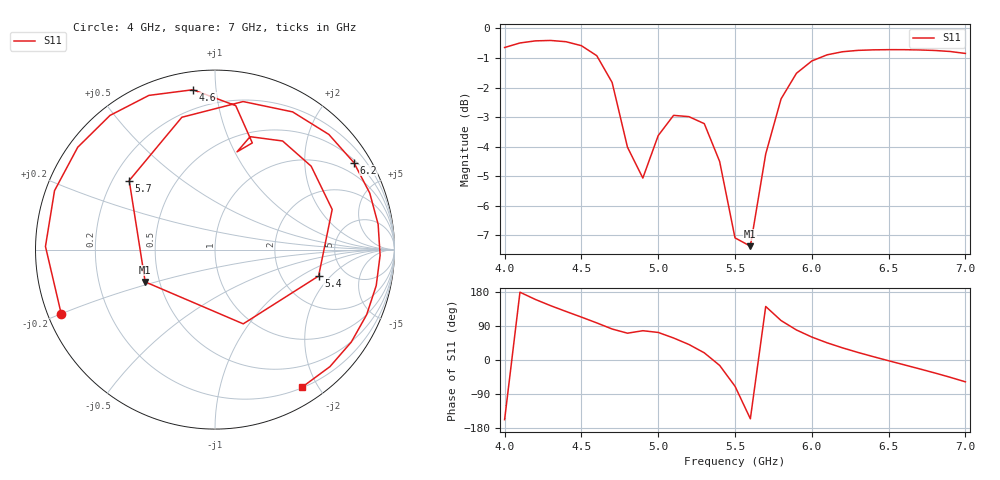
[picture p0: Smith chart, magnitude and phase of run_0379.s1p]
! Touchstone file exported from HFSS 2024.2.0
!  File:  C:/Users/wsak9/Desktop/Sim Fast/Widenad Patch/WP_AI_V1_sweep.aedt
!  Generated:  07:12:11 AM Oct 14, 2026
!  Design:  A1_model
!  Project:  WP_AI_V1_sweep
!  Setup:  Setup1
!  Solution:  Sweep
! Variables:
!  Air_gap = 3.57mm
!  Curve_Amp1 = 3.69
!  Curve_len1 = 1
!  Curve_pos = 11.34mm
!  Extra = 6.59mm
!  H_sub = 0.79mm
!  L_Patch = 18.68mm
!  L_Patch1 = 14.72mm
!  Sx = 0.71mm
!  Sy = 3.92mm
!  WS = 0.37mm
!  W_Patch = 18.12mm
!  W_Patch1 = 8.13mm
!Data is not renormalized
# GHz S MA
! Terminal data exported
! Port[1] = 1
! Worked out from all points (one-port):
!   31 points, 4 GHz to 7 GHz, reference per port
!   lowest |S11| = -7.4 dB at 5.6 GHz (marker M1), VSWR 2.50
!   |S11| at or under -10 dB: nowhere
!   S11 on the Smith chart (normalised r, x): 4 GHz: 0.04, -0.20; 4.6 GHz: 0.09, +0.87; 5.4 GHz: 3.22, -1.47; 5.7 GHz: 0.27, +0.33; 6.2 GHz: 0.58, +3.39; 7 GHz: 0.21, -1.80
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4  0.9282 -157.4
4.1  0.9447 178.9
4.2  0.9524 159.8
4.3  0.954 143.3
4.4  0.9493 128.1
4.5  0.9348 113.2
4.6  0.8991 97.9
4.7  0.8102 81.8
4.8  0.6297 70.7
4.9  0.5585 77.3
5  0.6589 72.7
5.1  0.7128 58.1
5.2  0.7092 40.9
5.3  0.6902 18.9
5.4  0.5957 -14.3
5.5  0.4426 -69.2
5.6  0.4285 -155.2
5.7  0.6135 141.2
5.8  0.7601 104.1
5.9  0.8396 79.2
6  0.8808 60.6
6.1  0.9022 45.3
6.2  0.913 32.0
6.3  0.9179 20.0
6.5  0.9204 -2.0
6.7  0.9195 -23.2
6.9  0.9139 -45.5
7  0.907 -57.6
